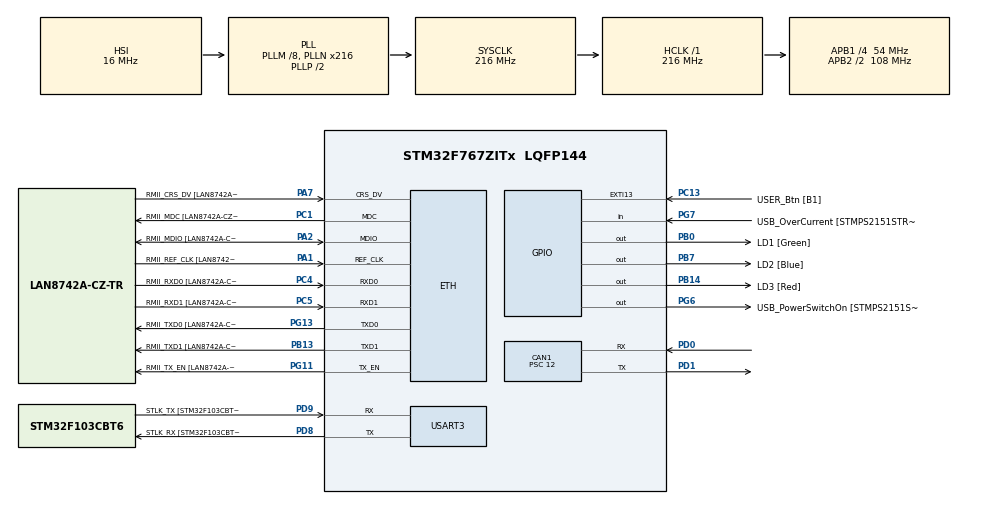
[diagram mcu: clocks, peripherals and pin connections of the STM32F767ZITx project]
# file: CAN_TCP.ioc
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CAN1.ABOM=ENABLE
CAN1.BS1=CAN_BS1_6TQ
CAN1.BS2=CAN_BS2_2TQ
CAN1.CalculateBaudRate=500000
CAN1.CalculateTimeBit=2000
CAN1.CalculateTimeQuantum=222.22222222222223
CAN1.NART=ENABLE
CAN1.Prescaler=12
CORTEX_M7.CPU_DCache=Disabled
CORTEX_M7.CPU_ICache=Disabled
CORTEX_M7.PREFETCH_ENABLE=0
ETH.MediaInterface=HAL_ETH_RMII_MODE
ETH.RxMode=ETH_RXINTERRUPT_MODE
FREERTOS.BinarySemaphores01=SyncSemaphore,Dynamic,NULL
FREERTOS.Queues01=queue_can_receive,20,CanPacket,0,Static,queue_can_receiveBuffer,queue_can_receiveControlBlock;queue_can_send,20,CanPacket,0,Static,queue_can_sendBuffer,queue_can_sendControlBlock;queue_tcp_send,20,TcpMessage,0,Static,queue_tcp_sendBuffer,queu_tcp_sendControlBlock;queue_tcp_receive,20,TcpMessage,0,Static,queue_tcp_receiveBuffer,queue_tcp_receiveControlBlock
FREERTOS.Tasks01=defaultTask,0,256,StartDefaultTask,As weak,NULL,Static,defaultTaskBuffer,defaultTaskControlBlock;SendTCP_MSG_,1,512,SendTCP_MSG,As weak,NULL,Static,ProcessCanMsg_tBuffer,ProcessCanMsg_tControlBlock;ReceiveCAN_MSG_,0,256,ReceiveCAN_MSG,As weak,NULL,Static,ReceiveCAN_MSG_Buffer,ReceiveCAN_MSG_ControlBlock;SendCAN_MSG_,-1,256,SendCAN_MSG,As weak,NULL,Static,SendCAN_MSG_Buffer,SendCAN_MSG_ControlBlock;ReceiveTCP_MSG_,-3,512,ReceiveTCP_MSG,As weak,NULL,Static,ReceiveTCP_MSG_Buffer,ReceiveTCP_MSG_ControlBlock
FREERTOS.configTOTAL_HEAP_SIZE=20000
FREERTOS.configUSE_NEWLIB_REENTRANT=1
LWIP.BSP.number=1
LWIP.GATEWAY_ADDRESS=192.168.000.001
LWIP.IP_ADDRESS=192.168.000.153
LWIP.LWIP_DHCP=0
LWIP.MEM_SIZE=10*1024
LWIP.NETMASK_ADDRESS=255.255.255.000
LWIP.Version=v2.1.2_Cube
LWIP0.BSP.STBoard=false
LWIP0.BSP.api=BSP_COMPONENT_DRIVER
LWIP0.BSP.component=LAN8742
LWIP0.BSP.instance=LAN8742
LWIP0.BSP.name=Driver_PHY
LWIP0.BSP.semaphore=S_LAN8742
LWIP0.BSP.solution=LAN8742
Mcu.Family=STM32F7
Mcu.Name=STM32F767ZITx
Mcu.Package=LQFP144
NVIC.CAN1_RX0_IRQn=true\:5\:0\:false\:false\:true\:true\:true\:true\:true
NVIC.ETH_IRQn=true\:5\:0\:false\:false\:true\:true\:false\:true\:true
NVIC.EXTI15_10_IRQn=true\:5\:0\:false\:false\:true\:true\:true\:true\:true
NVIC.PriorityGroup=NVIC_PRIORITYGROUP_4
NVIC.TIM1_BRK_TIM9_IRQn=true\:5\:0\:false\:false\:true\:true\:true\:true\:true
NVIC.TIM1_UP_TIM10_IRQn=true\:15\:0\:false\:false\:true\:false\:false\:true\:true
NVIC.TIM2_IRQn=true\:5\:0\:false\:false\:true\:true\:true\:true\:true
NVIC.TIM3_IRQn=true\:5\:0\:false\:false\:true\:true\:true\:true\:true
NVIC.TIM4_IRQn=true\:5\:0\:false\:false\:true\:true\:true\:true\:true
NVIC.TIM8_BRK_TIM12_IRQn=true\:5\:0\:false\:false\:true\:true\:true\:true\:true
NVIC.TIM8_CC_IRQn=true\:5\:0\:false\:false\:true\:true\:true\:true\:true
NVIC.TIM8_TRG_COM_TIM14_IRQn=true\:5\:0\:false\:false\:true\:true\:true\:true\:true
NVIC.TIM8_UP_TIM13_IRQn=true\:5\:0\:false\:false\:true\:true\:true\:true\:true
NVIC.TimeBase=TIM1_UP_TIM10_IRQn
NVIC.TimeBaseIP=TIM1
NVIC.USART3_IRQn=true\:5\:0\:false\:false\:true\:true\:true\:true\:true
PA1.GPIO_Label=RMII_REF_CLK [LAN8742A-CZ-TR_REFCLK0]
PA1.Mode=RMII
PA1.Signal=ETH_REF_CLK
PA10.GPIO_Label=USB_ID
PA10.Signal=USB_OTG_FS_ID
PA11.GPIO_Label=USB_DM
PA11.Signal=USB_OTG_FS_DM
PA12.GPIO_Label=USB_DP
PA12.Signal=USB_OTG_FS_DP
PA13.GPIO_Label=TMS
PA13.Signal=SYS_JTMS-SWDIO
PA14.GPIO_Label=TCK
PA14.Signal=SYS_JTCK-SWCLK
PA2.GPIO_Label=RMII_MDIO [LAN8742A-CZ-TR_MDIO]
PA2.Mode=RMII
PA2.Signal=ETH_MDIO
PA7.GPIO_Label=RMII_CRS_DV [LAN8742A-CZ-TR_CRS_DV]
PA7.Mode=RMII
PA7.Signal=ETH_CRS_DV
PA8.GPIO_Label=USB_SOF [TP1]
PA8.Signal=USB_OTG_FS_SOF
PA9.GPIO_Label=USB_VBUS
PA9.Signal=USB_OTG_FS_VBUS
PB0.GPIO_Label=LD1 [Green]
PB0.Signal=GPIO_Output
PB13.GPIO_Label=RMII_TXD1 [LAN8742A-CZ-TR_TXD1]
PB13.Mode=RMII
PB13.Signal=ETH_TXD1
PB14.GPIO_Label=LD3 [Red]
PB14.Signal=GPIO_Output
PB3.GPIO_Label=SW0
PB3.Signal=SYS_JTDO-SWO
PB7.GPIO_Label=LD2 [Blue]
PB7.Signal=GPIO_Output
PC1.GPIO_Label=RMII_MDC [LAN8742A-CZ-TR_MDC]
PC1.Mode=RMII
PC1.Signal=ETH_MDC
PC13.GPIO_Label=USER_Btn [B1]
PC13.GPIO_ModeDefaultEXTI=GPIO_MODE_IT_RISING
PC13.Signal=GPXTI13
PC14/OSC32_IN.Signal=RCC_OSC32_IN
PC15/OSC32_OUT.Signal=RCC_OSC32_OUT
PC4.GPIO_Label=RMII_RXD0 [LAN8742A-CZ-TR_RXD0]
PC4.Mode=RMII
PC4.Signal=ETH_RXD0
PC5.GPIO_Label=RMII_RXD1 [LAN8742A-CZ-TR_RXD1]
PC5.Mode=RMII
PC5.Signal=ETH_RXD1
PD0.Mode=CAN_Activate
PD0.Signal=CAN1_RX
PD1.Mode=CAN_Activate
PD1.Signal=CAN1_TX
PD8.GPIO_Label=STLK_RX [STM32F103CBT6_PA3]
PD8.Mode=Asynchronous
PD8.Signal=USART3_TX
PD9.GPIO_Label=STLK_TX [STM32F103CBT6_PA2]
PD9.Mode=Asynchronous
PD9.Signal=USART3_RX
PG11.GPIO_Label=RMII_TX_EN [LAN8742A-CZ-TR_TXEN]
PG11.Mode=RMII
PG11.Signal=ETH_TX_EN
PG13.GPIO_Label=RMII_TXD0 [LAN8742A-CZ-TR_TXD0]
PG13.Mode=RMII
PG13.Signal=ETH_TXD0
PG6.GPIO_Label=USB_PowerSwitchOn [STMPS2151STR_EN]
PG6.Signal=GPIO_Output
PG7.GPIO_Label=USB_OverCurrent [STMPS2151STR_FAULT]
PG7.Signal=GPIO_Input
PH0/OSC_IN.GPIO_Label=MCO [STM32F103CBT6_PA8]
PH0/OSC_IN.Signal=RCC_OSC_IN
PH1/OSC_OUT.Signal=RCC_OSC_OUT
ProjectManager.HeapSize=0x200
ProjectManager.StackSize=0x400
ProjectManager.TargetToolchain=STM32CubeIDE
RCC.48MHZClocksFreq_Value=24000000
RCC.AHBFreq_Value=216000000
RCC.APB1CLKDivider=RCC_HCLK_DIV4
RCC.APB1Freq_Value=54000000
RCC.APB1TimFreq_Value=108000000
RCC.APB2CLKDivider=RCC_HCLK_DIV2
RCC.APB2Freq_Value=108000000
RCC.APB2TimFreq_Value=216000000
RCC.CortexFreq_Value=216000000
RCC.HCLKFreq_Value=216000000
RCC.HSE_VALUE=16000000
RCC.HSI_VALUE=16000000
RCC.LSE_VALUE=32768
RCC.PLLM=8
RCC.PLLMUL=RCC_PLL_MUL9
RCC.PLLN=216
RCC.PRESCALERUSB=RCC_USBCLKSOURCE_PLL_DIV1_5
RCC.SYSCLKFreq_VALUE=216000000
RCC.SYSCLKSource=RCC_SYSCLKSOURCE_PLLCLK
RCC.SYSCLKSourceVirtual=RCC_SYSCLKSOURCE_PLLCLK
RCC.USBFreq_Value=216000000
RCC.VCOOutputFreq_Value=432000000
TIM2.Period=1000
TIM2.Prescaler=216-1
TIM3.Period=10000-1
TIM3.Prescaler=10800-1
TIM4.Period=1000-1
TIM4.Prescaler=10800-1
TIM8.Period=32884-1
TIM8.Prescaler=32883-1
TIM9.Period=1000-1
TIM9.Prescaler=10800-1
USART3.VirtualMode-Asynchronous=VM_ASYNC
VP_FREERTOS_VS_CMSIS_V1.Mode=CMSIS_V1
VP_LWIP_VS_Enabled.Mode=Enabled
VP_SYS_VS_tim1.Mode=TIM1
VP_TIM2_VS_ClockSourceINT.Mode=Internal
VP_TIM3_VS_ClockSourceINT.Mode=Internal
VP_TIM4_VS_ClockSourceINT.Mode=Internal
VP_TIM8_VS_ClockSourceINT.Mode=Internal
VP_TIM9_VS_ClockSourceINT.Mode=Internal
board=NUCLEO-F767ZI

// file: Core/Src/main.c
/* USER CODE BEGIN Header */
/**
  ******************************************************************************
  * @file           : main.c
  * @brief          : Main program body
  ******************************************************************************
  * @attention
  *
  * Copyright (c) 2024 STMicroelectronics.
  * All rights reserved.
  *
  * This software is licensed under terms that can be found in the LICENSE file
  * in the root directory of this software component.
  * If no LICENSE file comes with this software, it is provided AS-IS.
  *
  ******************************************************************************
  */
/* USER CODE END Header */
#include "main.h"
#include "cmsis_os.h"
#include "can.h"
#include "lwip.h"
#include "tim.h"
#include "usart.h"
#include "gpio.h"

/* USER CODE BEGIN Includes */

#include "api.h"
#include "Parse.h"
#include "stdio.h"
#include "stdlib.h"
#include "string.h"
#include "fila.h"
/* USER CODE END Includes */

/* USER CODE BEGIN PTD */

bool testcfg = 0;
bool clientOnline = 0;
uint64_t count_sync = 0;
struct netconn com1 = {0};
extern bool Connected;
uint8_t canMessage = 0;
struct Queue* queue;
extern sys_sem_t tcpsem;
extern osSemaphoreId SyncSemaphoreHandle;
extern osMessageQId queue_tcp_sendHandle;
extern osMessageQId queue_can_sendHandle;
/* USER CODE END PTD */

/* USER CODE BEGIN PV */
uint8_t uartRxBuffer[8] = {0}; //buffer recebido pela serial
uint8_t canRxBuffer [8] = {0}; //buffer recebido pela interface CAN
extern struct tcp_pcb *tpcb;
extern struct tcp_server_struct *es;

extern device devices[];
/* USER CODE END PV */

void SystemClock_Config(void);
void MX_FREERTOS_Init(void);

int main(void)
{

  /* MCU Configuration--------------------------------------------------------*/

  /* Reset of all peripherals, Initializes the Flash interface and the Systick. */
  HAL_Init();

  /* Configure the system clock */
  SystemClock_Config();

  /* Initialize all configured peripherals */
  MX_GPIO_Init();
  MX_CAN1_Init();
  MX_TIM2_Init();
  MX_TIM3_Init();
  MX_TIM4_Init();
  MX_USART3_UART_Init();
  MX_TIM8_Init();
  MX_TIM9_Init();
  /* USER CODE BEGIN 2 */
  HAL_TIM_Base_Start_IT(&htim2);

  /* USER CODE END 2 */

  /* Call init function for freertos objects (in freertos.c) */
  MX_FREERTOS_Init();

  /* Start scheduler */
  osKernelStart();

  /* We should never get here as control is now taken by the scheduler */
  /* Infinite loop */
  while (1)
  {

  }
}

void SystemClock_Config(void)
{
  RCC_OscInitTypeDef RCC_OscInitStruct = {0};
  RCC_ClkInitTypeDef RCC_ClkInitStruct = {0};

  /** Configure the main internal regulator output voltage
  */
  __HAL_RCC_PWR_CLK_ENABLE();
  __HAL_PWR_VOLTAGESCALING_CONFIG(PWR_REGULATOR_VOLTAGE_SCALE1);

  /** Initializes the RCC Oscillators according to the specified parameters
  * in the RCC_OscInitTypeDef structure.
  */
  RCC_OscInitStruct.OscillatorType = RCC_OSCILLATORTYPE_HSI;
  RCC_OscInitStruct.HSIState = RCC_HSI_ON;
  RCC_OscInitStruct.HSICalibrationValue = RCC_HSICALIBRATION_DEFAULT;
  RCC_OscInitStruct.PLL.PLLState = RCC_PLL_ON;
  RCC_OscInitStruct.PLL.PLLSource = RCC_PLLSOURCE_HSI;
  RCC_OscInitStruct.PLL.PLLM = 8;
  RCC_OscInitStruct.PLL.PLLN = 216;
  RCC_OscInitStruct.PLL.PLLP = RCC_PLLP_DIV2;
  RCC_OscInitStruct.PLL.PLLQ = 2;
  RCC_OscInitStruct.PLL.PLLR = 2;
  if (HAL_RCC_OscConfig(&RCC_OscInitStruct) != HAL_OK)
  {
    Error_Handler();
  }

  /** Activate the Over-Drive mode
  */
  if (HAL_PWREx_EnableOverDrive() != HAL_OK)
  {
    Error_Handler();
  }

  /** Initializes the CPU, AHB and APB buses clocks
  */
  RCC_ClkInitStruct.ClockType = RCC_CLOCKTYPE_HCLK|RCC_CLOCKTYPE_SYSCLK
                              |RCC_CLOCKTYPE_PCLK1|RCC_CLOCKTYPE_PCLK2;
  RCC_ClkInitStruct.SYSCLKSource = RCC_SYSCLKSOURCE_PLLCLK;
  RCC_ClkInitStruct.AHBCLKDivider = RCC_SYSCLK_DIV1;
  RCC_ClkInitStruct.APB1CLKDivider = RCC_HCLK_DIV4;
  RCC_ClkInitStruct.APB2CLKDivider = RCC_HCLK_DIV2;

  if (HAL_RCC_ClockConfig(&RCC_ClkInitStruct, FLASH_LATENCY_7) != HAL_OK)
  {
    Error_Handler();
  }
}

/* USER CODE BEGIN 4 */

void StartDefaultTask(void const * argument)
{
  /* init code for LWIP */
  MX_LWIP_Init();
  tcpclient_init();
  /* USER CODE BEGIN StartDefaultTask */
  osDelay(2000);
  clientOnline = 1;
  HAL_TIM_Base_Start_IT(&htim3);
  HAL_TIM_Base_Start_IT(&htim8);
  /* Infinite loop */
  for(;;)
  {

	osDelay(5000);

  }
  /* USER CODE END StartDefaultTask */
}

void buildMessage(uint8_t MessageType, void *data, uint8_t id, char *result)
{
	switch (MessageType)
	{
		case DATA:
			device *sensorData = (device*)data;
			int writenDATA = sprintf(result, "@#%d#", id);
			writenDATA += sprintf(result + writenDATA, "$%d$", MessageType);
			for (int i = 0; i < MAX_SENSORS; ++i)
			{
				if( (devices[id - HEADER_ID].activeSensorNumber) & (1<<i))
				{
					writenDATA += sprintf(result + writenDATA, "&%ld", sensorData->sensorData[i]);
				}
				else
				{
					writenDATA += sprintf(result + writenDATA, "&null");
				}
			}
			strcat(result, "&!");

		break;

		case SYNC:
			device *state = (device*)data;
			uint8_t deviceCount = 0;
			int lenData = 0;
			for (int i = 0; i < MAX_DEVICES; i++)
			{
				if (state[i].deviceSync)
				{
					deviceCount++;
				}
			}
			int writenSYNC = sprintf(result, "@#%d#", id);
			writenSYNC += sprintf(result + writenSYNC, "$%d$", MessageType);
			for (int i = 0; i < MAX_DEVICES; ++i)
			{
				if (state[i].deviceSync)
				{
					writenSYNC += sprintf(result + writenSYNC, "&%d", i + HEADER_ID);
					lenData++;
				}

			}
			if (lenData > 0)
			{
				strcat(result, "&!");
			}
			else
			{
				strcat(result, "&&!");
			}

			break;

		case STATUS:
			StatusSlave *status = (StatusSlave*)data;

			int writenSTATUS = sprintf(result, "@#%d#", id);
			writenSTATUS += sprintf(result + writenSTATUS, "$%d$", MessageType);

			writenSTATUS += sprintf(result + writenSTATUS, "&%d", status->sensorsHab);
			writenSTATUS += sprintf(result + writenSTATUS, "&%d", status->internalTemp);
			writenSTATUS += sprintf(result + writenSTATUS, "&%d", status->transmissionErrors);
			writenSTATUS += sprintf(result + writenSTATUS, "&%d", status->runtime);

			strcat(result, "&!");

			break;

	}
}

void setbit(uint8_t *variable, int bitNumber, int value)
{
    if ((bitNumber < 0) || (bitNumber > 7))
    {
        return;
    }

    if (value == 1)
    {
        *variable |= (1 << bitNumber);
    }
    else if (value == 0)
    {
        *variable &= ~(1 << bitNumber);
    }
    else
    {
        return;
    }
}

void reboot_device(uint8_t id)
{
	CanPacket canPacket = {0};
	canPacket.canID = id;
	canPacket.canDataFields.ctrl0 = REBOOT;
	xQueueSendToBack(queue_can_sendHandle, &canPacket ,0);
}

void HAL_GPIO_EXTI_Callback(uint16_t GPIO_Pin)
{
	switch (GPIO_Pin)
	{
		case USER_Btn_Pin:
			HAL_GPIO_TogglePin(LD1_GPIO_Port, LD1_Pin);

			BaseType_t xHigherPriorityTaskWoken = pdFALSE;
			CanPacket canTesteCfg = {0};
			canTesteCfg.canID = BROADCAST;
			canTesteCfg.canDataFields.ctrl0 =  CONFIG;
			if (testcfg)
			{
				canTesteCfg.canDataFields.data[0] = 0x38;
				testcfg = 0;
			}
			else
			{
				canTesteCfg.canDataFields.data[0] = 0xff;
				testcfg = 1;
			}

			xQueueSendToBackFromISR(queue_can_sendHandle, &canTesteCfg, &xHigherPriorityTaskWoken);
	}
}

/* USER CODE END 4 */

void HAL_TIM_PeriodElapsedCallback(TIM_HandleTypeDef *htim)
{
  if (htim->Instance == TIM1) {
    HAL_IncTick();
  }
  /* USER CODE BEGIN Callback 1 */
  if (htim->Instance == TIM2)
  {
    __NOP();
  }

  //-------------- Request SYNC --------------

  if (htim->Instance == TIM3)
  {
	count_sync++;
	BaseType_t xHigherPriorityTaskWoken = pdFALSE;
	CanPacket canPacket = {0};

	canPacket.canID = BROADCAST;
	canPacket.canDataFields.ctrl0 = SYNC;
	for (int i = 0; i < MAX_DEVICES; i++)
	{
		devices[i].deviceSync = 0;
	}

	xQueueSendToBackFromISR(queue_can_sendHandle, &canPacket, &xHigherPriorityTaskWoken);

	if (count_sync % 10 == 0)
	{
		memset(&canPacket, 0, sizeof (canPacket));
		canPacket.canID = BROADCAST;
		canPacket.canDataFields.ctrl0 = STATUS;

		xQueueSendToBackFromISR(queue_can_sendHandle, &canPacket, &xHigherPriorityTaskWoken);
	}

	HAL_GPIO_TogglePin(LD2_GPIO_Port, LD2_Pin);
	__HAL_TIM_CLEAR_IT(&htim4 ,TIM_IT_UPDATE);
	HAL_TIM_Base_Start_IT(&htim4);
  }
  //-------------- Request SYNC --------------

//-------------- Resposta SYNC --------------
  if (htim->Instance == TIM4)
  {
	BaseType_t xHigherPriorityTaskWoken = pdFALSE;
	char tcpmsg [64] = {0};
	buildMessage(SYNC, &devices, BROADCAST, tcpmsg);

    HAL_GPIO_TogglePin(LD3_GPIO_Port, LD3_Pin);

    __HAL_TIM_CLEAR_IT(&htim4, TIM_IT_UPDATE);
	HAL_TIM_Base_Stop_IT(&htim4);

	if (Connected)
		xQueueSendToBackFromISR(queue_tcp_sendHandle, &tcpmsg, &xHigherPriorityTaskWoken);
  }
  //-------------- Resposta SYNC --------------

  //-------------- Request STATUS --------------
  if (htim->Instance == TIM8)
  {
//	BaseType_t xHigherPriorityTaskWoken = pdFALSE;
//	CanPacket canPacket = {0};
//
//	canPacket.canID = BROADCAST;
//	canPacket.canDataFields.ctrl0 = STATUS;

//	xQueueSendToBackFromISR(queue_can_sendHandle, &canPacket, &xHigherPriorityTaskWoken);
//	__HAL_TIM_CLEAR_IT(&htim9 ,TIM_IT_UPDATE);
//	HAL_TIM_Base_Start_IT(&htim9);
  }
//  //-------------- Request STATUS --------------
//
//
//  //-------------- Resposta STATUS --------------
//  if (htim->Instance == TIM9)
//  {
//
//	BaseType_t xHigherPriorityTaskWoken = pdFALSE;
//
//
//	__HAL_TIM_CLEAR_IT(&htim9, TIM_IT_UPDATE);
//	HAL_TIM_Base_Stop_IT(&htim9);
//
//	if (Connected)
//	{
//		for (int i = 0; i < MAX_DEVICES; i++)
//		{
//			if(devices[i].deviceStatusSync)
//			{
//				char tcpmsg [64] = {0};
//				buildMessage(STATUS, &devices[i].statusDevice, BROADCAST, tcpmsg);
//				xQueueSendToBackFromISR(queue_tcp_sendHandle, &tcpmsg, &xHigherPriorityTaskWoken);
//			}
//			devices[i].deviceSync = false;
//		}
//
//	}
//
//  }
  //-------------- Resposta STATUS --------------

  /* USER CODE END Callback 1 */
}

void Error_Handler(void)
{
  __disable_irq();
  while (1)
  {
  }
}

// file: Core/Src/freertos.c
/* USER CODE BEGIN Header */
/**
  ******************************************************************************
  * File Name          : freertos.c
  * Description        : Code for freertos applications
  ******************************************************************************
  * @attention
  *
  * Copyright (c) 2024 STMicroelectronics.
  * All rights reserved.
  *
  * This software is licensed under terms that can be found in the LICENSE file
  * in the root directory of this software component.
  * If no LICENSE file comes with this software, it is provided AS-IS.
  *
  ******************************************************************************
  */
/* USER CODE END Header */

#include "FreeRTOS.h"
#include "task.h"
#include "main.h"
#include "cmsis_os.h"

osThreadId defaultTaskHandle;
uint32_t defaultTaskBuffer[ 256 ];
osStaticThreadDef_t defaultTaskControlBlock;
osThreadId SendTCP_MSG_Handle;
uint32_t ProcessCanMsg_tBuffer[ 512 ];
osStaticThreadDef_t ProcessCanMsg_tControlBlock;
osThreadId ReceiveCAN_MSG_Handle;
uint32_t ReceiveCAN_MSG_Buffer[ 256 ];
osStaticThreadDef_t ReceiveCAN_MSG_ControlBlock;
osThreadId SendCAN_MSG_Handle;
uint32_t SendCAN_MSG_Buffer[ 256 ];
osStaticThreadDef_t SendCAN_MSG_ControlBlock;
osThreadId ReceiveTCP_MSG_Handle;
uint32_t ReceiveTCP_MSG_Buffer[ 512 ];
osStaticThreadDef_t ReceiveTCP_MSG_ControlBlock;
osMessageQId queue_can_receiveHandle;
uint8_t queue_can_receiveBuffer[ 20 * sizeof( CanPacket ) ];
osStaticMessageQDef_t queue_can_receiveControlBlock;
osMessageQId queue_can_sendHandle;
uint8_t queue_can_sendBuffer[ 20 * sizeof( CanPacket ) ];
osStaticMessageQDef_t queue_can_sendControlBlock;
osMessageQId queue_tcp_sendHandle;
uint8_t queue_tcp_sendBuffer[ 20 * sizeof( TcpMessage ) ];
osStaticMessageQDef_t queu_tcp_sendControlBlock;
osMessageQId queue_tcp_receiveHandle;
uint8_t queue_tcp_receiveBuffer[ 20 * sizeof( TcpMessage ) ];
osStaticMessageQDef_t queue_tcp_receiveControlBlock;
osSemaphoreId SyncSemaphoreHandle;

void StartDefaultTask(void const * argument);
void SendTCP_MSG(void const * argument);
void ReceiveCAN_MSG(void const * argument);
void SendCAN_MSG(void const * argument);
void ReceiveTCP_MSG(void const * argument);

extern void MX_LWIP_Init(void);
void MX_FREERTOS_Init(void); /* (MISRA C 2004 rule 8.1) */

/* GetIdleTaskMemory prototype (linked to static allocation support) */
void vApplicationGetIdleTaskMemory( StaticTask_t **ppxIdleTaskTCBBuffer, StackType_t **ppxIdleTaskStackBuffer, uint32_t *pulIdleTaskStackSize );

/* USER CODE BEGIN GET_IDLE_TASK_MEMORY */
static StaticTask_t xIdleTaskTCBBuffer;
static StackType_t xIdleStack[configMINIMAL_STACK_SIZE];

void vApplicationGetIdleTaskMemory( StaticTask_t **ppxIdleTaskTCBBuffer, StackType_t **ppxIdleTaskStackBuffer, uint32_t *pulIdleTaskStackSize )
{
  *ppxIdleTaskTCBBuffer = &xIdleTaskTCBBuffer;
  *ppxIdleTaskStackBuffer = &xIdleStack[0];
  *pulIdleTaskStackSize = configMINIMAL_STACK_SIZE;
  /* place for user code */
}
/* USER CODE END GET_IDLE_TASK_MEMORY */

void MX_FREERTOS_Init(void) {

  /* Create the semaphores(s) */
  /* definition and creation of SyncSemaphore */
  osSemaphoreDef(SyncSemaphore);
  SyncSemaphoreHandle = osSemaphoreCreate(osSemaphore(SyncSemaphore), 1);

  /* Create the queue(s) */
  /* definition and creation of queue_can_receive */
  osMessageQStaticDef(queue_can_receive, 20, CanPacket, queue_can_receiveBuffer, &queue_can_receiveControlBlock);
  queue_can_receiveHandle = osMessageCreate(osMessageQ(queue_can_receive), NULL);

  /* definition and creation of queue_can_send */
  osMessageQStaticDef(queue_can_send, 20, CanPacket, queue_can_sendBuffer, &queue_can_sendControlBlock);
  queue_can_sendHandle = osMessageCreate(osMessageQ(queue_can_send), NULL);

  /* definition and creation of queue_tcp_send */
  osMessageQStaticDef(queue_tcp_send, 20, TcpMessage, queue_tcp_sendBuffer, &queu_tcp_sendControlBlock);
  queue_tcp_sendHandle = osMessageCreate(osMessageQ(queue_tcp_send), NULL);

  /* definition and creation of queue_tcp_receive */
  osMessageQStaticDef(queue_tcp_receive, 20, TcpMessage, queue_tcp_receiveBuffer, &queue_tcp_receiveControlBlock);
  queue_tcp_receiveHandle = osMessageCreate(osMessageQ(queue_tcp_receive), NULL);

  /* Create the thread(s) */
  /* definition and creation of defaultTask */
  osThreadStaticDef(defaultTask, StartDefaultTask, osPriorityNormal, 0, 256, defaultTaskBuffer, &defaultTaskControlBlock);
  defaultTaskHandle = osThreadCreate(osThread(defaultTask), NULL);

  /* definition and creation of SendTCP_MSG_ */
  osThreadStaticDef(SendTCP_MSG_, SendTCP_MSG, osPriorityAboveNormal, 0, 512, ProcessCanMsg_tBuffer, &ProcessCanMsg_tControlBlock);
  SendTCP_MSG_Handle = osThreadCreate(osThread(SendTCP_MSG_), NULL);

  /* definition and creation of ReceiveCAN_MSG_ */
  osThreadStaticDef(ReceiveCAN_MSG_, ReceiveCAN_MSG, osPriorityNormal, 0, 256, ReceiveCAN_MSG_Buffer, &ReceiveCAN_MSG_ControlBlock);
  ReceiveCAN_MSG_Handle = osThreadCreate(osThread(ReceiveCAN_MSG_), NULL);

  /* definition and creation of SendCAN_MSG_ */
  osThreadStaticDef(SendCAN_MSG_, SendCAN_MSG, osPriorityBelowNormal, 0, 256, SendCAN_MSG_Buffer, &SendCAN_MSG_ControlBlock);
  SendCAN_MSG_Handle = osThreadCreate(osThread(SendCAN_MSG_), NULL);

  /* definition and creation of ReceiveTCP_MSG_ */
  osThreadStaticDef(ReceiveTCP_MSG_, ReceiveTCP_MSG, osPriorityIdle, 0, 512, ReceiveTCP_MSG_Buffer, &ReceiveTCP_MSG_ControlBlock);
  ReceiveTCP_MSG_Handle = osThreadCreate(osThread(ReceiveTCP_MSG_), NULL);

}

__weak void StartDefaultTask(void const * argument)
{
  /* init code for LWIP */
  MX_LWIP_Init();
  for(;;)
  {
    osDelay(1);
  }
}

__weak void SendTCP_MSG(void const * argument)
{
  for(;;)
  {
    osDelay(1);
  }
}

__weak void ReceiveCAN_MSG(void const * argument)
{
  for(;;)
  {
    osDelay(1);
  }
}

__weak void SendCAN_MSG(void const * argument)
{
  for(;;)
  {
    osDelay(1);
  }
}

__weak void ReceiveTCP_MSG(void const * argument)
{
  for(;;)
  {
    osDelay(1);
  }
}
